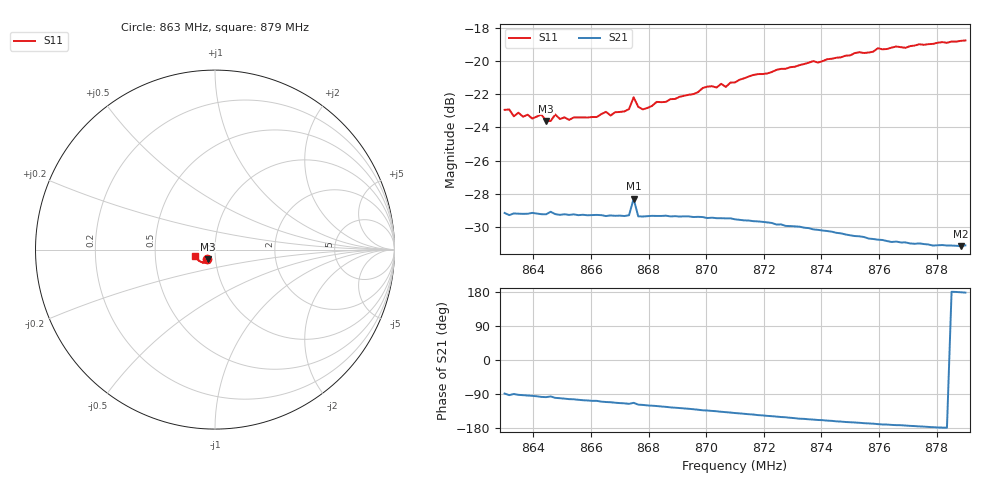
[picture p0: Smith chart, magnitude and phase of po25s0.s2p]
# HZ S RI R 50
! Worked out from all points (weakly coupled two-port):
!   101 points, 863 MHz to 879 MHz, reference 50 ohm
!   highest |S21| = -28.30 dB at 867.48 MHz (marker M1); lowest = -31.1 dB at 878.84 MHz (marker M2)
!   lowest |S11| = -23.6 dB at 864.44 MHz (marker M3), VSWR 1.14, Z = 45.9 - j4.86 ohm
!   |S11| at or under -10 dB: start of sweep to end of sweep
!   S12 and S22 are empty: the file has one direction only
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8.63e8  -0.0455 -0.0548  0.000898 -0.0349  0 0  0 0
8.6316e8  -0.0464 -0.0543  -0.00166 -0.0343  0 0  0 0
8.6332e8  -0.0407 -0.0546  0.0002 -0.0348  0 0  0 0
8.6348e8  -0.0435 -0.0546  -0.00116 -0.0347  0 0  0 0
8.6396e8  -0.0402 -0.0537  -0.00279 -0.0348  0 0  0 0
8.6428e8  -0.0399 -0.0563  -0.00447 -0.0343  0 0  0 0
8.6444e8  -0.0396 -0.0527  -0.00481 -0.0342  0 0  0 0
8.646e8  -0.0338 -0.0567  -0.00376 -0.035  0 0  0 0
8.6476e8  -0.0411 -0.0554  -0.00597 -0.0341  0 0  0 0
8.6492e8  -0.0371 -0.0556  -0.00645 -0.0338  0 0  0 0
8.6572e8  -0.0362 -0.0571  -0.00958 -0.0331  0 0  0 0
8.6732e8  -0.0369 -0.0614  -0.0149 -0.0309  0 0  0 0
8.6748e8  -0.0284 -0.0724  -0.015 -0.0354  0 0  0 0
8.6764e8  -0.0375 -0.0624  -0.0159 -0.0301  0 0  0 0
8.678e8  -0.0354 -0.0621  -0.0163 -0.0299  0 0  0 0
8.6844e8  -0.0383 -0.0646  -0.0184 -0.0288  0 0  0 0
8.7004e8  -0.0447 -0.0707  -0.0231 -0.0245  0 0  0 0
8.71e8  -0.0483 -0.0714  -0.0256 -0.0215  0 0  0 0
8.7372e8  -0.0681 -0.0731  -0.0287 -0.012  0 0  0 0
8.7644e8  -0.0915 -0.0605  -0.0282 -0.00432  0 0  0 0
8.7884e8  -0.1077 -0.0401  -0.0277 0.000613  0 0  0 0
8.79e8  -0.1087 -0.0382  -0.0278 0.00102  0 0  0 0
